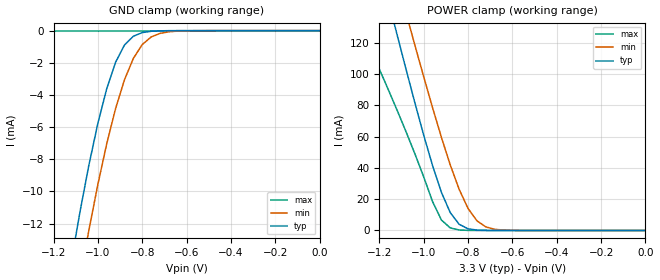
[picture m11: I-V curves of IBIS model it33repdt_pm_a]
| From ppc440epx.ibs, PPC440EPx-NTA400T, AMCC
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|   MODEL it33repdt_pm_a
[Model]   it33repdt_pm_a
Model_type   Input
Vinl  = 0.8V
Vinh  = 2.0V
|   typ   min   max
C_comp   0.45pF   0.41pF  0.50pF
[Temperature Range]   50.00   125.00   0.00
[Voltage Range]   3.300   3.000   3.600
|   typ   min   max
|[Supply]   VDD   1.5   1.4   1.6
|[Supply]   VDD330   3.30   3.00   3.60
[Add Submodel]
| Submodel Name   Mode
Up.it33repdt_pm_a   Non-Driving
Dn.it33repdt_pm_a   Non-Driving
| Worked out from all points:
|   GND clamp passes 1 mA (typ) near -0.88 V on its own axis
|   POWER clamp passes 1 mA (typ) near -0.80 V on its own axis
[POWER_Clamp]   | Note: Vtable = Vcc - Vout
| Voltage   I(typ)   I(min)   I(max)
-3.6V     1.491A     1.456A     1.125A
-1.28V    214.6mA    244.6mA    128.5mA
-1.12V    125.3mA    160.2mA    76.98mA
-1.08V    103.4mA    139.4mA    63.34mA
-1.04V    81.84mA    118.7mA    49.19mA
-960mV    41.52mA    78.57mA    18.49mA
-920mV    24.37mA    59.55mA    6.672mA
-880mV    11.36mA    41.85mA    1.628mA
-800mV    1.083mA    14.1mA     60uA
-760mV    268uA      6.215mA    11uA
-640mV    4uA        241uA      0A
0V        0A         0A         0A
[GND_Clamp]   | Note: Vtable = Vout
| Voltage   I(typ)   I(min)   I(max)
-3.6V     -278.4mA   -280.5mA   0A
-1.12V    -14.38mA   -18.65mA   0A
-1.08V    -11.22mA   -15.42mA   0A
-1.04V    -8.327mA   -12.37mA   0A
-960mV    -3.61mA    -7.033mA   0A
-920mV    -1.965mA   -4.843mA   0A
-880mV    -898uA     -3.056mA   0A
-840mV    -350uA     -1.729mA   0A
-800mV    -125uA     -871uA     0A
-760mV    -44uA      -400uA     0A
-680mV    -6uA       -76uA      0A
0V        0A         0A         0A
